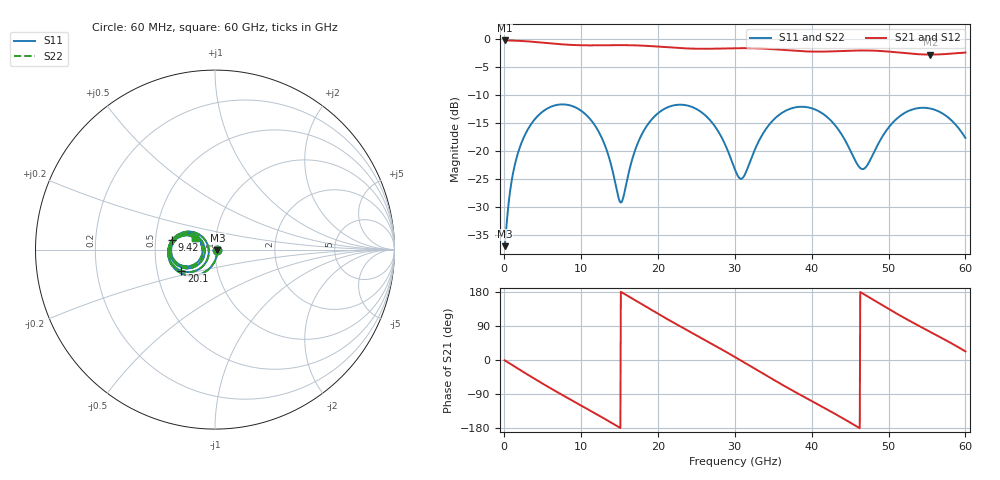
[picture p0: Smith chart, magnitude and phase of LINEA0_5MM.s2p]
! TOUCHSTONE file generated by CST MICROWAVE STUDIO
! Date and time: Tue Oct 13 11:58:45 2026
! Project name: LINEA0_5MM.cst
! Parameters = {GAP=0.00415; L=5; L1=0.02; L2=0.086; L3=0.066; NCELL=13; PITCH=0.18; START_POSITION=0.08; W1=0.003; W2=0.004; W3=0.009; WG=0.04985; gap_oxr=0.00125; linbo3_thickness=0.0002; mtx=0.002; oxiDinE=0.0014; w=0.15; ws=0.035}
! Header version: 2024
! Port assignment regex: !\s*Touchstone port\s*([0-9]+)\s*=\s*(CST MWS port|CST DES external port|CST DES block port)\s*(.+)\s* \(\"(.*)\"\)(\s*mode\s*([0-9]+))?.*
! Touchstone port assignment:
! Touchstone port 1 = CST MWS port 1 ("")
! Touchstone port 2 = CST MWS port 2 ("")
# GHz S MA R 50
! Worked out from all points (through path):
!   1000 points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, 60 MHz to 60 GHz, reference 50 ohm
!   highest |S21| = -0.19 dB at 60 MHz (marker M1); lowest = -2.7 dB at 55.44 GHz (marker M2)
!   group delay of S21, straight-line fit = 32.2 ps
!   lowest |S11| = -36.9 dB at 60 MHz (marker M3), VSWR 1.03, Z = 51.4 - j0.352 ohm
!   |S11| at or under -10 dB: start of sweep to end of sweep
!   |S22| runs from -36.9 to -11.6 dB; largest |S21 - S12| = 2e-06
!   S11 on the Smith chart (normalised r, x): 60 MHz: 1.03, -0.01; 9.42 GHz: 0.61, +0.07; 20.1 GHz: 0.67, -0.17; 60 GHz: 0.79, +0.11
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0.06  0.01421 -14.0  0.978 -0.8  0.978 -0.8  0.01421 -14.0
1.26  0.06914 -92.8  0.9747 -16.0  0.9747 -16.0  0.06914 -92.8
3  0.1534 -119.0  0.9603 -37.9  0.9603 -37.9  0.1534 -119.0
6.12  0.2507 -156.4  0.9197 -75.6  0.9197 -75.6  0.2507 -156.4
9.42  0.244 167.2  0.8885 -113.4  0.8885 -113.4  0.244 167.2
10.08  0.2287 160.4  0.8859 -120.9  0.8859 -120.9  0.2287 160.4
12.84  0.1255 136.8  0.8858 -152.5  0.8858 -152.5  0.1255 136.8
15.18  0.03488 -175.7  0.8885 179.9  0.8885 179.9  0.03488 -175.7
17.46  0.1218 -127.0  0.8823 152.5  0.8823 152.5  0.1218 -127.0
20.04  0.2196 -147.1  0.8621 121.7  0.8621 121.7  0.2196 -147.1
20.1  0.2212 -147.7  0.8616 121.0  0.8616 121.0  0.2212 -147.7
24.78  0.2434 167.8  0.8256 67.8  0.8256 67.8  0.2434 167.8
27.66  0.158 146.0  0.8267 35.4  0.8267 35.4  0.158 146.0
30.06  0.06779 157.3  0.8338 7.4  0.8338 7.4  0.06779 157.3
31.14  0.05912 -164.7  0.835 -5.5  0.835 -5.5  0.05912 -164.7
35.4  0.2018 -149.4  0.8129 -56.3  0.8129 -56.3  0.2018 -149.4
40.02  0.2423 172.4  0.7778 -108.5  0.7778 -108.5  0.2423 172.4
43.74  0.1472 148.5  0.7865 -150.2  0.7865 -150.2  0.1472 148.5
46.56  0.06947 -179.9  0.7964 176.4  0.7964 176.4  0.06947 -179.9
50.04  0.1641 -146.3  0.7778 134.4  0.7778 134.4  0.1641 -146.3
55.44  0.2411 174.8  0.7315 74.2  0.7315 74.2  0.2411 174.8
60  0.1317 150.1  0.7623 22.8  0.7623 22.8  0.1317 150.1
